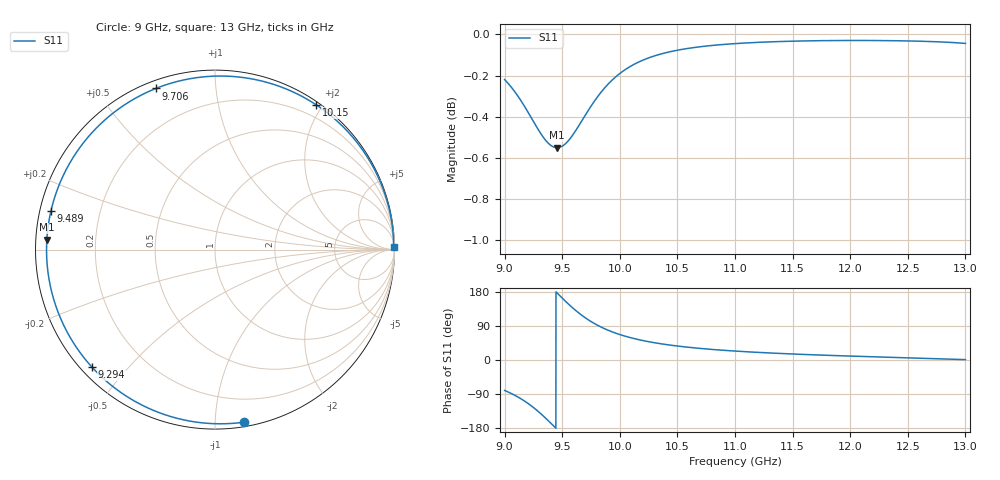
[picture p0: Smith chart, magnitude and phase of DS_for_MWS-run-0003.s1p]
! TOUCHSTONE file generated by CST DESIGN STUDIO
! Date and time: Tue Feb  4 15:59:38 2025
! Project name: C:\Work\MatlabApps\UnitCellOptimizationMatlab\CST\unitcell.cst
! Tree item: Tasks\Sweep1\SPara1\S-Parameters
! Header version: 2024
! Port assignment regex: !\s*Touchstone port\s*([0-9]+)\s*=\s*(CST MWS port|CST DES external port|CST DES block port)\s*(.+)\s* \(\"(.*)\"\)(\s*mode\s*([0-9]+))?.*
! Touchstone port assignment:
! Touchstone port 1 = CST DES external port 1 ("")
# GHz S MA R 50
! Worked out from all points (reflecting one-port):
!   4001 points, 9 GHz to 13 GHz, reference 50 ohm
!   lowest |S11| = -0.6 dB at 9.456 GHz (marker M1), VSWR 31.57, Z = 1.59 + j1.45 ohm
!   phase of S11 starts at -80 deg and turns -279 deg over the sweep
!   S11 on the Smith chart (normalised r, x): 9 GHz: 0.03, -1.18; 9.294 GHz: 0.03, -0.40; 9.489 GHz: 0.03, +0.12; 9.706 GHz: 0.03, +0.70; 10.15 GHz: 0.04, +1.92; 13 GHz: open
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9  0.9751 -80.3
9.091  0.9682 -93.5
9.165  0.9613 -106.8
9.231  0.9545 -120.8
9.294  0.9479 -136.3
9.336  0.9441 -147.7
9.381  0.9408 -160.7
9.419  0.9391 -172.1
9.456  0.9386 176.7
9.489  0.939 166.7
9.5  0.9394 163.4
9.554  0.9423 147.7
9.604  0.9464 134.1
9.654  0.9512 121.7
9.706  0.9564 110.2
9.763  0.9619 99.1
9.827  0.9674 88.5
9.911  0.9734 77.0
10  0.9784 67.1
10.146  0.9841 54.9
10.306  0.9882 45.3
10.5  0.9912 36.8
10.722  0.9933 29.9
11  0.9949 23.6
11.5  0.9962 15.8
12  0.9966 10.3
12.5  0.9964 5.7
13  0.995 1.0
